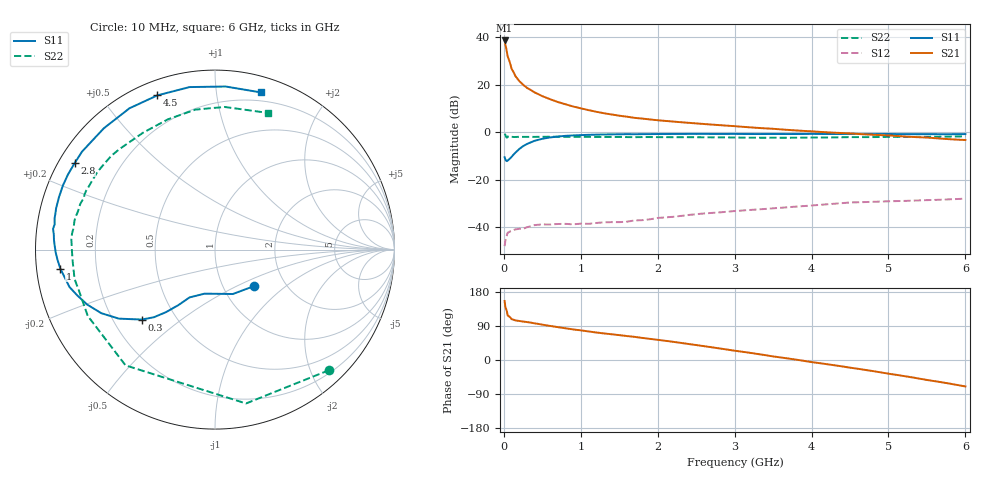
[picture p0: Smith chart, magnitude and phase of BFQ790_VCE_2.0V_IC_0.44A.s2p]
! Infineon Technologies  Discrete & RF Semiconductors
! BFQ790
! VCE =  2.0 V,  IC = 0.44 A
! Common Emitter S-Parameters:  May 2015
# GHz  S  MA  R  50
!  f  S11  S21  S12  S22
! GHz  MAG  ANG  MAG  ANG  MAG  ANG  MAG  ANG
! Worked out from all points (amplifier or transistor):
!   77 points, 10 MHz to 6 GHz, reference 50 ohm
!   highest |S21| = 38.6 dB at 10 MHz (marker M1)
!   |S21| within 3 dB of that: start of sweep to 28.52 MHz
!   unconditionally stable (mu >= 1): 139.5 MHz to end of sweep
!   at 130 MHz: K = 0.95, MSG = 33.1 dB, |S12| = -41.1 dB
!   at 2.2 GHz: K = 1.43, MAG = 16.1 dB, |S12| = -35.6 dB
!   at 6 GHz: K = 1.15, MAG = 9.9 dB, |S12| = -28.0 dB
!   S11 on the Smith chart (normalised r, x): 10 MHz: 1.39, -0.62; 300 MHz: 0.32, -0.37; 1 GHz: 0.07, -0.06; 2.8 GHz: 0.05, +0.28; 4.5 GHz: 0.06, +0.69; 6 GHz: 0.13, +1.33
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0.01  0.2975 -43.2  85.01 155.7  0.004 65.5  0.9246 -46.6
0.02  0.2667 -68.1  69.58 139.5  0.0052 49.7  0.8745 -78.6
0.05  0.2525 -103.5  39.16 117.4  0.0077 26.1  0.8151 -127.7
0.1  0.3016 -118.0  21.69 107.8  0.0084 19.3  0.7995 -152.5
0.15  0.3705 -123.4  15.17 104.5  0.009 20.5  0.7915 -163.0
0.2  0.4414 -128.0  11.92 103.0  0.0093 19.8  0.7995 -168.2
0.25  0.508 -132.1  9.951 101.5  0.0093 15.4  0.7961 -171.8
0.3  0.564 -136.3  8.563 100.2  0.01 16.3  0.7956 -174.7
0.4  0.6592 -144.3  6.858 96.7  0.0111 15.4  0.7966 -178.7
0.5  0.726 -150.8  5.732 93.3  0.0115 13.5  0.7987 178.3
0.6  0.7748 -156.7  4.945 90.0  0.0114 14.4  0.8026 175.8
0.8  0.8373 -165.6  3.868 83.7  0.0118 11.6  0.7981 171.8
1  0.8681 -173.0  3.176 78.2  0.0119 13.3  0.7993 168.4
1.1  0.8794 -176.3  2.911 75.4  0.0118 17.0  0.7979 166.7
1.5  0.9021 174.6  2.224 65.7  0.0128 21.1  0.7923 161.1
2.1  0.9153 163.4  1.726 50.7  0.0161 19.5  0.7854 152.2
2.8  0.9184 148.4  1.408 30.6  0.0205 13.4  0.7791 137.9
3.1  0.9168 141.4  1.299 21.8  0.0225 10.6  0.7685 131.3
4.1  0.9172 119.1  1.017 -8.2  0.0295 -5.3  0.7722 107.5
4.5  0.9173 110.5  0.942 -20.2  0.0332 -13.1  0.7875 98.0
5.1  0.9118 96.4  0.834 -39.1  0.0355 -25.9  0.7951 84.2
6  0.9126 73.6  0.684 -69.8  0.04 -48.2  0.8168 68.8
